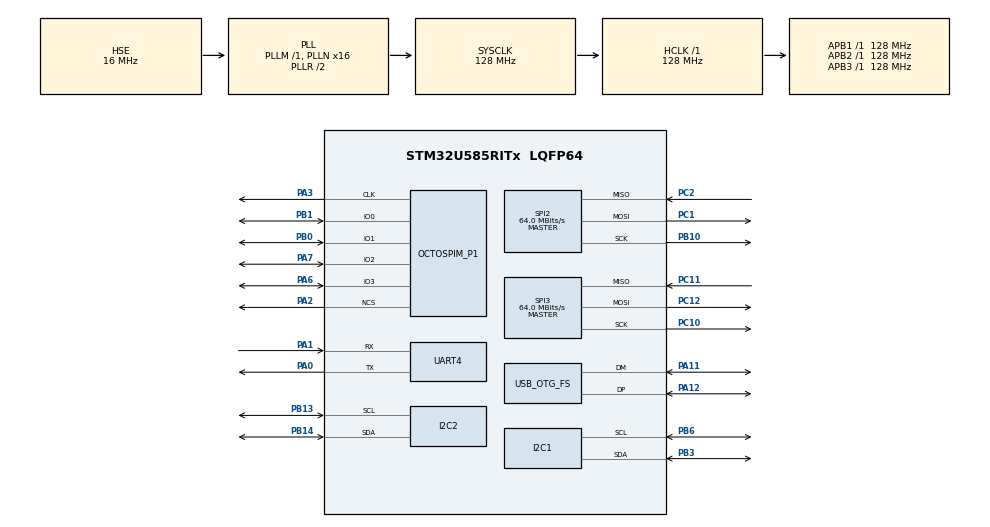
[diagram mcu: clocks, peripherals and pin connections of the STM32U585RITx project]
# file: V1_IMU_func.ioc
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CORTEX_M33_NS.userName=CORTEX_M33
I2C1.Timing=0x20A0C4DF
I2C2.Timing=0x20A0C4DF
Mcu.Family=STM32U5
Mcu.Name=STM32U585RITx
Mcu.Package=LQFP64
NVIC.OTG_FS_IRQn=true\:0\:0\:false\:false\:true\:true\:true\:true
NVIC.PriorityGroup=NVIC_PRIORITYGROUP_4
PA0.Mode=Asynchronous
PA0.Signal=UART4_TX
PA1.Mode=Asynchronous
PA1.Signal=UART4_RX
PA11.Mode=Device_Only
PA11.Signal=USB_OTG_FS_DM
PA12.Mode=Device_Only
PA12.Signal=USB_OTG_FS_DP
PA13\ (JTMS/SWDIO).Mode=Serial_Wire
PA13\ (JTMS/SWDIO).Signal=DEBUG_JTMS-SWDIO
PA14\ (JTCK/SWCLK).Mode=Serial_Wire
PA14\ (JTCK/SWCLK).Signal=DEBUG_JTCK-SWCLK
PA2.Mode=OCTOSPI1_Port1_NCS
PA2.Signal=OCTOSPIM_P1_NCS
PA3.Mode=O1_P1_CLK
PA3.Signal=OCTOSPIM_P1_CLK
PA6.Mode=OCTOSPI1_IOL_Port1L
PA6.Signal=OCTOSPIM_P1_IO3
PA7.Mode=OCTOSPI1_IOL_Port1L
PA7.Signal=OCTOSPIM_P1_IO2
PB0.Mode=OCTOSPI1_IOL_Port1L
PB0.Signal=OCTOSPIM_P1_IO1
PB1.Mode=OCTOSPI1_IOL_Port1L
PB1.Signal=OCTOSPIM_P1_IO0
PB10.Mode=Full_Duplex_Master
PB10.Signal=SPI2_SCK
PB13.Mode=I2C
PB13.Signal=I2C2_SCL
PB14.Mode=I2C
PB14.Signal=I2C2_SDA
PB3\ (JTDO/TRACESWO).Mode=I2C
PB3\ (JTDO/TRACESWO).Signal=I2C1_SDA
PB6.Mode=I2C
PB6.Signal=I2C1_SCL
PC1.Mode=Full_Duplex_Master
PC1.Signal=SPI2_MOSI
PC10.Mode=Full_Duplex_Master
PC10.Signal=SPI3_SCK
PC11.Mode=Full_Duplex_Master
PC11.Signal=SPI3_MISO
PC12.Mode=Full_Duplex_Master
PC12.Signal=SPI3_MOSI
PC14-OSC32_IN\ (PC14).Mode=LSE-External-Oscillator
PC14-OSC32_IN\ (PC14).Signal=RCC_OSC32_IN
PC15-OSC32_OUT\ (PC15).Mode=LSE-External-Oscillator
PC15-OSC32_OUT\ (PC15).Signal=RCC_OSC32_OUT
PC2.Mode=Full_Duplex_Master
PC2.Signal=SPI2_MISO
PH0-OSC_IN\ (PH0).Mode=HSE-External-Oscillator
PH0-OSC_IN\ (PH0).Signal=RCC_OSC_IN
PH1-OSC_OUT\ (PH1).Mode=HSE-External-Oscillator
PH1-OSC_OUT\ (PH1).Signal=RCC_OSC_OUT
ProjectManager.HeapSize=0x200
ProjectManager.StackSize=0x400
ProjectManager.TargetToolchain=STM32CubeIDE
RCC.ADCFreq_Value=16000000
RCC.AHBFreq_Value=128000000
RCC.APB1Freq_Value=128000000
RCC.APB1TimFreq_Value=128000000
RCC.APB2Freq_Value=128000000
RCC.APB2TimFreq_Value=128000000
RCC.APB3Freq_Value=128000000
RCC.CortexFreq_Value=128000000
RCC.EPOD_VALUE=16000000
RCC.HCLKFreq_Value=128000000
RCC.HSE_VALUE=16000000
RCC.HSI48_VALUE=48000000
RCC.HSI_VALUE=16000000
RCC.LSIDIV_VALUE=32000
RCC.MSI_VALUE=4000000
RCC.PLLN=16
RCC.PLLSourceVirtual=RCC_PLLSOURCE_HSE
RCC.SYSCLKFreq_VALUE=128000000
RCC.SYSCLKSource=RCC_SYSCLKSOURCE_PLLCLK
RCC.USBFreq_Value=48000000
RCC.VCOOutputFreq_Value=256000000
SPI2.BaudRatePrescaler=SPI_BAUDRATEPRESCALER_2
SPI2.CalculateBaudRate=64.0 MBits/s
SPI2.Direction=SPI_DIRECTION_2LINES
SPI2.Mode=SPI_MODE_MASTER
SPI2.VirtualType=VM_MASTER
SPI3.CalculateBaudRate=64.0 MBits/s
SPI3.Direction=SPI_DIRECTION_2LINES
SPI3.Mode=SPI_MODE_MASTER
SPI3.VirtualType=VM_MASTER
USB_OTG_FS.VirtualMode=Device_Only
VP_ICACHE_VS_ICACHE.Mode=DirectMappedCache
VP_LPBAMQUEUE_VS_QUEUE.Mode=QUEUEMODE
VP_LPBAM_VS_SIG1.Mode=SmartRun
VP_LPBAM_VS_SIG4.Mode=LPDMA1
VP_MEMORYMAP_VS_MEMORYMAP.Mode=CurAppReg
VP_OCTOSPI1_VS_quad.Mode=quad_mode
VP_PWR_VS_SECSignals.Mode=Security/Privilege
board=custom

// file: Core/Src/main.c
/* USER CODE BEGIN Header */
/**
  ******************************************************************************
  * @file           : main.c
  * @brief          : Main program body
  ******************************************************************************
  * @attention
  *
  * Copyright (c) 2026 STMicroelectronics.
  * All rights reserved.
  *
  * This software is licensed under terms that can be found in the LICENSE file
  * in the root directory of this software component.
  * If no LICENSE file comes with this software, it is provided AS-IS.
  *
  ******************************************************************************
  */
/* USER CODE END Header */
#include "main.h"

/* USER CODE BEGIN Includes */
#include <stdlib.h>
#include <stdio.h>
#include "tusb.h"
#include "tusb_config.h"
/* USER CODE END Includes */

I2C_HandleTypeDef hi2c1;
I2C_HandleTypeDef hi2c2;

OSPI_HandleTypeDef hospi1;

SPI_HandleTypeDef hspi2;
SPI_HandleTypeDef hspi3;

UART_HandleTypeDef huart4;

PCD_HandleTypeDef hpcd_USB_OTG_FS;

void SystemClock_Config(void);
static void MX_GPIO_Init(void);
static void MX_I2C1_Init(void);
static void MX_OCTOSPI1_Init(void);
static void MX_SPI2_Init(void);
static void MX_SPI3_Init(void);
static void MX_USB_OTG_FS_PCD_Init(void);
static void MX_I2C2_Init(void);
static void MX_UART4_Init(void);
static void MX_ICACHE_Init(void);

/* USER CODE BEGIN 0 */
int _write(int file, char *ptr, int len)
{
    if (tud_cdc_connected())
    {
        tud_cdc_write(ptr, len);
        tud_cdc_write_flush();
    }

    return len;
}
/* USER CODE END 0 */

int main(void)
{

  /* MCU Configuration--------------------------------------------------------*/

  /* Reset of all peripherals, Initializes the Flash interface and the Systick. */
  HAL_Init();

  /* Configure the system clock */
  SystemClock_Config();

  /* Initialize all configured peripherals */
  MX_GPIO_Init();
  MX_I2C1_Init();
  MX_OCTOSPI1_Init();
  MX_SPI2_Init();
  MX_SPI3_Init();
  MX_USB_OTG_FS_PCD_Init();
  MX_I2C2_Init();
  MX_UART4_Init();
  MX_ICACHE_Init();
  /* USER CODE BEGIN 2 */
//  tusb_rhport_init_t dev_init = {
//		  .role = TUSB_ROLE_DEVICE,
//		  .speed = TUSB_SPEED_FULL
//  };
//
//  tusb_init(0, &dev_init);
  tusb_init();

  /* USER CODE END 2 */

  /* Infinite loop */
  /* USER CODE BEGIN WHILE */
  while (1)
  {
    tud_task();

    static uint32_t last_print = 0;
    if (HAL_GetTick() - last_print >= 1000) {
      last_print = HAL_GetTick();
      if (tud_cdc_connected()) {
        printf("Hello TinyUSB\r\n");
        tud_cdc_write_flush();
      }
	  }
    /* USER CODE END WHILE */

  }
}

void SystemClock_Config(void)
{
  RCC_OscInitTypeDef RCC_OscInitStruct = {0};
  RCC_ClkInitTypeDef RCC_ClkInitStruct = {0};

  /** Configure the main internal regulator output voltage
  */
  if (HAL_PWREx_ControlVoltageScaling(PWR_REGULATOR_VOLTAGE_SCALE1) != HAL_OK)
  {
    Error_Handler();
  }

  /** Initializes the CPU, AHB and APB buses clocks
  */
  RCC_OscInitStruct.OscillatorType = RCC_OSCILLATORTYPE_HSI48|RCC_OSCILLATORTYPE_HSE;
  RCC_OscInitStruct.HSEState = RCC_HSE_ON;
  RCC_OscInitStruct.HSI48State = RCC_HSI48_ON;
  RCC_OscInitStruct.PLL.PLLState = RCC_PLL_ON;
  RCC_OscInitStruct.PLL.PLLSource = RCC_PLLSOURCE_HSE;
  RCC_OscInitStruct.PLL.PLLMBOOST = RCC_PLLMBOOST_DIV1;
  RCC_OscInitStruct.PLL.PLLM = 1;
  RCC_OscInitStruct.PLL.PLLN = 16;
  RCC_OscInitStruct.PLL.PLLP = 2;
  RCC_OscInitStruct.PLL.PLLQ = 2;
  RCC_OscInitStruct.PLL.PLLR = 2;
  RCC_OscInitStruct.PLL.PLLRGE = RCC_PLLVCIRANGE_1;
  RCC_OscInitStruct.PLL.PLLFRACN = 0;
  if (HAL_RCC_OscConfig(&RCC_OscInitStruct) != HAL_OK)
  {
    Error_Handler();
  }

  /** Initializes the CPU, AHB and APB buses clocks
  */
  RCC_ClkInitStruct.ClockType = RCC_CLOCKTYPE_HCLK|RCC_CLOCKTYPE_SYSCLK
                              |RCC_CLOCKTYPE_PCLK1|RCC_CLOCKTYPE_PCLK2
                              |RCC_CLOCKTYPE_PCLK3;
  RCC_ClkInitStruct.SYSCLKSource = RCC_SYSCLKSOURCE_PLLCLK;
  RCC_ClkInitStruct.AHBCLKDivider = RCC_SYSCLK_DIV1;
  RCC_ClkInitStruct.APB1CLKDivider = RCC_HCLK_DIV1;
  RCC_ClkInitStruct.APB2CLKDivider = RCC_HCLK_DIV1;
  RCC_ClkInitStruct.APB3CLKDivider = RCC_HCLK_DIV1;

  if (HAL_RCC_ClockConfig(&RCC_ClkInitStruct, FLASH_LATENCY_3) != HAL_OK)
  {
    Error_Handler();
  }
}

static void MX_I2C1_Init(void)
{

  hi2c1.Instance = I2C1;
  hi2c1.Init.Timing = 0x20A0C4DF;
  hi2c1.Init.OwnAddress1 = 0;
  hi2c1.Init.AddressingMode = I2C_ADDRESSINGMODE_7BIT;
  hi2c1.Init.DualAddressMode = I2C_DUALADDRESS_DISABLE;
  hi2c1.Init.OwnAddress2 = 0;
  hi2c1.Init.OwnAddress2Masks = I2C_OA2_NOMASK;
  hi2c1.Init.GeneralCallMode = I2C_GENERALCALL_DISABLE;
  hi2c1.Init.NoStretchMode = I2C_NOSTRETCH_DISABLE;
  if (HAL_I2C_Init(&hi2c1) != HAL_OK)
  {
    Error_Handler();
  }

  /** Configure Analogue filter
  */
  if (HAL_I2CEx_ConfigAnalogFilter(&hi2c1, I2C_ANALOGFILTER_ENABLE) != HAL_OK)
  {
    Error_Handler();
  }

  /** Configure Digital filter
  */
  if (HAL_I2CEx_ConfigDigitalFilter(&hi2c1, 0) != HAL_OK)
  {
    Error_Handler();
  }

}

static void MX_I2C2_Init(void)
{

  hi2c2.Instance = I2C2;
  hi2c2.Init.Timing = 0x20A0C4DF;
  hi2c2.Init.OwnAddress1 = 0;
  hi2c2.Init.AddressingMode = I2C_ADDRESSINGMODE_7BIT;
  hi2c2.Init.DualAddressMode = I2C_DUALADDRESS_DISABLE;
  hi2c2.Init.OwnAddress2 = 0;
  hi2c2.Init.OwnAddress2Masks = I2C_OA2_NOMASK;
  hi2c2.Init.GeneralCallMode = I2C_GENERALCALL_DISABLE;
  hi2c2.Init.NoStretchMode = I2C_NOSTRETCH_DISABLE;
  if (HAL_I2C_Init(&hi2c2) != HAL_OK)
  {
    Error_Handler();
  }

  /** Configure Analogue filter
  */
  if (HAL_I2CEx_ConfigAnalogFilter(&hi2c2, I2C_ANALOGFILTER_ENABLE) != HAL_OK)
  {
    Error_Handler();
  }

  /** Configure Digital filter
  */
  if (HAL_I2CEx_ConfigDigitalFilter(&hi2c2, 0) != HAL_OK)
  {
    Error_Handler();
  }

}

static void MX_ICACHE_Init(void)
{

  /** Enable instruction cache in 1-way (direct mapped cache)
  */
  if (HAL_ICACHE_ConfigAssociativityMode(ICACHE_1WAY) != HAL_OK)
  {
    Error_Handler();
  }
  if (HAL_ICACHE_Enable() != HAL_OK)
  {
    Error_Handler();
  }

}

static void MX_OCTOSPI1_Init(void)
{

  OSPIM_CfgTypeDef sOspiManagerCfg = {0};

  /* OCTOSPI1 parameter configuration*/
  hospi1.Instance = OCTOSPI1;
  hospi1.Init.FifoThreshold = 1;
  hospi1.Init.DualQuad = HAL_OSPI_DUALQUAD_DISABLE;
  hospi1.Init.MemoryType = HAL_OSPI_MEMTYPE_MICRON;
  hospi1.Init.DeviceSize = 32;
  hospi1.Init.ChipSelectHighTime = 1;
  hospi1.Init.FreeRunningClock = HAL_OSPI_FREERUNCLK_DISABLE;
  hospi1.Init.ClockMode = HAL_OSPI_CLOCK_MODE_0;
  hospi1.Init.WrapSize = HAL_OSPI_WRAP_NOT_SUPPORTED;
  hospi1.Init.ClockPrescaler = 1;
  hospi1.Init.SampleShifting = HAL_OSPI_SAMPLE_SHIFTING_NONE;
  hospi1.Init.DelayHoldQuarterCycle = HAL_OSPI_DHQC_DISABLE;
  hospi1.Init.ChipSelectBoundary = 0;
  hospi1.Init.DelayBlockBypass = HAL_OSPI_DELAY_BLOCK_BYPASSED;
  hospi1.Init.MaxTran = 0;
  hospi1.Init.Refresh = 0;
  if (HAL_OSPI_Init(&hospi1) != HAL_OK)
  {
    Error_Handler();
  }
  sOspiManagerCfg.ClkPort = 1;
  sOspiManagerCfg.NCSPort = 1;
  sOspiManagerCfg.IOLowPort = HAL_OSPIM_IOPORT_1_LOW;
  if (HAL_OSPIM_Config(&hospi1, &sOspiManagerCfg, HAL_OSPI_TIMEOUT_DEFAULT_VALUE) != HAL_OK)
  {
    Error_Handler();
  }

}

static void MX_SPI2_Init(void)
{

  SPI_AutonomousModeConfTypeDef HAL_SPI_AutonomousMode_Cfg_Struct = {0};

  /* SPI2 parameter configuration*/
  hspi2.Instance = SPI2;
  hspi2.Init.Mode = SPI_MODE_MASTER;
  hspi2.Init.Direction = SPI_DIRECTION_2LINES;
  hspi2.Init.DataSize = SPI_DATASIZE_4BIT;
  hspi2.Init.CLKPolarity = SPI_POLARITY_LOW;
  hspi2.Init.CLKPhase = SPI_PHASE_1EDGE;
  hspi2.Init.NSS = SPI_NSS_SOFT;
  hspi2.Init.BaudRatePrescaler = SPI_BAUDRATEPRESCALER_2;
  hspi2.Init.FirstBit = SPI_FIRSTBIT_MSB;
  hspi2.Init.TIMode = SPI_TIMODE_DISABLE;
  hspi2.Init.CRCCalculation = SPI_CRCCALCULATION_DISABLE;
  hspi2.Init.CRCPolynomial = 0x7;
  hspi2.Init.NSSPMode = SPI_NSS_PULSE_ENABLE;
  hspi2.Init.NSSPolarity = SPI_NSS_POLARITY_LOW;
  hspi2.Init.FifoThreshold = SPI_FIFO_THRESHOLD_01DATA;
  hspi2.Init.MasterSSIdleness = SPI_MASTER_SS_IDLENESS_00CYCLE;
  hspi2.Init.MasterInterDataIdleness = SPI_MASTER_INTERDATA_IDLENESS_00CYCLE;
  hspi2.Init.MasterReceiverAutoSusp = SPI_MASTER_RX_AUTOSUSP_DISABLE;
  hspi2.Init.MasterKeepIOState = SPI_MASTER_KEEP_IO_STATE_DISABLE;
  hspi2.Init.IOSwap = SPI_IO_SWAP_DISABLE;
  hspi2.Init.ReadyMasterManagement = SPI_RDY_MASTER_MANAGEMENT_INTERNALLY;
  hspi2.Init.ReadyPolarity = SPI_RDY_POLARITY_HIGH;
  if (HAL_SPI_Init(&hspi2) != HAL_OK)
  {
    Error_Handler();
  }
  HAL_SPI_AutonomousMode_Cfg_Struct.TriggerState = SPI_AUTO_MODE_DISABLE;
  HAL_SPI_AutonomousMode_Cfg_Struct.TriggerSelection = SPI_GRP1_GPDMA_CH0_TCF_TRG;
  HAL_SPI_AutonomousMode_Cfg_Struct.TriggerPolarity = SPI_TRIG_POLARITY_RISING;
  if (HAL_SPIEx_SetConfigAutonomousMode(&hspi2, &HAL_SPI_AutonomousMode_Cfg_Struct) != HAL_OK)
  {
    Error_Handler();
  }

}

static void MX_SPI3_Init(void)
{

  SPI_AutonomousModeConfTypeDef HAL_SPI_AutonomousMode_Cfg_Struct = {0};

  /* SPI3 parameter configuration*/
  hspi3.Instance = SPI3;
  hspi3.Init.Mode = SPI_MODE_MASTER;
  hspi3.Init.Direction = SPI_DIRECTION_2LINES;
  hspi3.Init.DataSize = SPI_DATASIZE_8BIT;
  hspi3.Init.CLKPolarity = SPI_POLARITY_LOW;
  hspi3.Init.CLKPhase = SPI_PHASE_1EDGE;
  hspi3.Init.NSS = SPI_NSS_SOFT;
  hspi3.Init.BaudRatePrescaler = SPI_BAUDRATEPRESCALER_2;
  hspi3.Init.FirstBit = SPI_FIRSTBIT_MSB;
  hspi3.Init.TIMode = SPI_TIMODE_DISABLE;
  hspi3.Init.CRCCalculation = SPI_CRCCALCULATION_DISABLE;
  hspi3.Init.CRCPolynomial = 0x7;
  hspi3.Init.NSSPMode = SPI_NSS_PULSE_ENABLE;
  hspi3.Init.NSSPolarity = SPI_NSS_POLARITY_LOW;
  hspi3.Init.FifoThreshold = SPI_FIFO_THRESHOLD_01DATA;
  hspi3.Init.MasterSSIdleness = SPI_MASTER_SS_IDLENESS_00CYCLE;
  hspi3.Init.MasterInterDataIdleness = SPI_MASTER_INTERDATA_IDLENESS_00CYCLE;
  hspi3.Init.MasterReceiverAutoSusp = SPI_MASTER_RX_AUTOSUSP_DISABLE;
  hspi3.Init.MasterKeepIOState = SPI_MASTER_KEEP_IO_STATE_DISABLE;
  hspi3.Init.IOSwap = SPI_IO_SWAP_DISABLE;
  hspi3.Init.ReadyMasterManagement = SPI_RDY_MASTER_MANAGEMENT_INTERNALLY;
  hspi3.Init.ReadyPolarity = SPI_RDY_POLARITY_HIGH;
  if (HAL_SPI_Init(&hspi3) != HAL_OK)
  {
    Error_Handler();
  }
  HAL_SPI_AutonomousMode_Cfg_Struct.TriggerState = SPI_AUTO_MODE_DISABLE;
  HAL_SPI_AutonomousMode_Cfg_Struct.TriggerSelection = SPI_GRP2_LPDMA_CH0_TCF_TRG;
  HAL_SPI_AutonomousMode_Cfg_Struct.TriggerPolarity = SPI_TRIG_POLARITY_RISING;
  if (HAL_SPIEx_SetConfigAutonomousMode(&hspi3, &HAL_SPI_AutonomousMode_Cfg_Struct) != HAL_OK)
  {
    Error_Handler();
  }

}

static void MX_UART4_Init(void)
{

  huart4.Instance = UART4;
  huart4.Init.BaudRate = 115200;
  huart4.Init.WordLength = UART_WORDLENGTH_8B;
  huart4.Init.StopBits = UART_STOPBITS_1;
  huart4.Init.Parity = UART_PARITY_NONE;
  huart4.Init.Mode = UART_MODE_TX_RX;
  huart4.Init.HwFlowCtl = UART_HWCONTROL_NONE;
  huart4.Init.OverSampling = UART_OVERSAMPLING_16;
  huart4.Init.OneBitSampling = UART_ONE_BIT_SAMPLE_DISABLE;
  huart4.Init.ClockPrescaler = UART_PRESCALER_DIV1;
  huart4.AdvancedInit.AdvFeatureInit = UART_ADVFEATURE_NO_INIT;
  if (HAL_UART_Init(&huart4) != HAL_OK)
  {
    Error_Handler();
  }
  if (HAL_UARTEx_SetTxFifoThreshold(&huart4, UART_TXFIFO_THRESHOLD_1_8) != HAL_OK)
  {
    Error_Handler();
  }
  if (HAL_UARTEx_SetRxFifoThreshold(&huart4, UART_RXFIFO_THRESHOLD_1_8) != HAL_OK)
  {
    Error_Handler();
  }
  if (HAL_UARTEx_DisableFifoMode(&huart4) != HAL_OK)
  {
    Error_Handler();
  }

}

static void MX_USB_OTG_FS_PCD_Init(void)
{

  hpcd_USB_OTG_FS.Instance = USB_OTG_FS;
  hpcd_USB_OTG_FS.Init.dev_endpoints = 6;
  hpcd_USB_OTG_FS.Init.speed = PCD_SPEED_FULL;
  hpcd_USB_OTG_FS.Init.phy_itface = PCD_PHY_EMBEDDED;
  hpcd_USB_OTG_FS.Init.Sof_enable = DISABLE;
  hpcd_USB_OTG_FS.Init.low_power_enable = DISABLE;
  hpcd_USB_OTG_FS.Init.lpm_enable = DISABLE;
  hpcd_USB_OTG_FS.Init.battery_charging_enable = DISABLE;
  hpcd_USB_OTG_FS.Init.use_dedicated_ep1 = DISABLE;
  hpcd_USB_OTG_FS.Init.vbus_sensing_enable = DISABLE;
  hpcd_USB_OTG_FS.Init.dma_enable = DISABLE;
  if (HAL_PCD_Init(&hpcd_USB_OTG_FS) != HAL_OK)
  {
    Error_Handler();
  }

}

static void MX_GPIO_Init(void)
{

  /* GPIO Ports Clock Enable */
  __HAL_RCC_GPIOC_CLK_ENABLE();
  __HAL_RCC_GPIOH_CLK_ENABLE();
  __HAL_RCC_GPIOA_CLK_ENABLE();
  __HAL_RCC_GPIOB_CLK_ENABLE();

}

void Error_Handler(void)
{
  __disable_irq();
  while (1)
  {
  }
}
